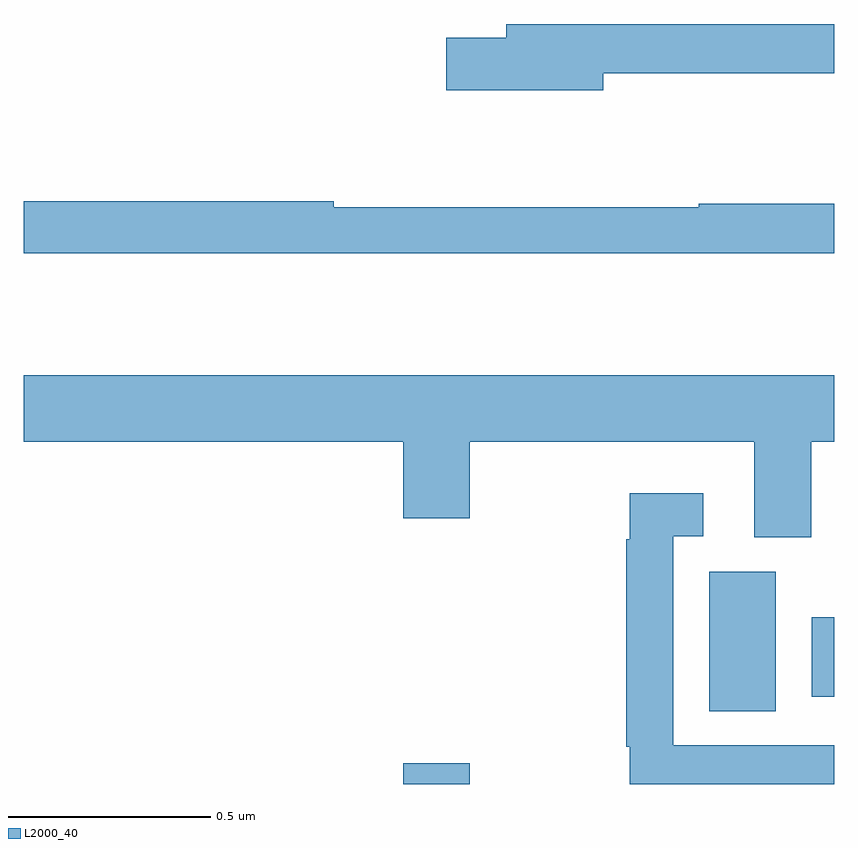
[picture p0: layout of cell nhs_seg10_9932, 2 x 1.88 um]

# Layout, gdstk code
import gdstk
lib = gdstk.Library(unit=1e-6, precision=1e-09)
def R(c, l, rs):  # rectangles x0, y0, x1, y1
    for r in rs: c.add(gdstk.rectangle(r[:2], r[2:], *l))
def P(c, l, *ps):  # polygons
    for p in ps: c.add(gdstk.Polygon(p, *l))
L2000_40 = (2000, 40)

nhs_seg10_9932 = lib.new_cell('nhs_seg10_9932')
R(nhs_seg10_9932, L2000_40, [(236.936,1271.5,237.1,1271.551), (237.692,1271.68,237.856,1272.024), (237.944,1271.715,238,1271.911)])
P(nhs_seg10_9932, L2000_40, [(237.43,1273.254),(238,1273.254),(238,1273.375),(237.191,1273.375),(237.191,1273.341),(237.042,1273.341),(237.042,1273.211),(237.43,1273.211)],
  [(238,1272.931),(237.665,1272.931),(237.665,1272.923),(236.765,1272.923),(236.765,1272.938),(236,1272.938),(236,1272.81),(238,1272.81)],
  [(237.943,1272.344),(238,1272.344),(238,1272.508),(236,1272.508),(236,1272.344),(236.936,1272.344),(236.936,1272.156),(237.1,1272.156),(237.1,1272.344),(237.803,1272.344),(237.803,1272.109),(237.943,1272.109)],
  [(238,1271.595),(237.603,1271.595),(237.603,1272.111),(237.676,1272.111),(237.676,1272.217),(237.495,1272.217),(237.495,1272.104),(237.487,1272.104),(237.487,1271.592),(237.495,1271.592),(237.495,1271.5),(238,1271.5)])

lib.write_gds('nhs_seg10_9932.gds')
